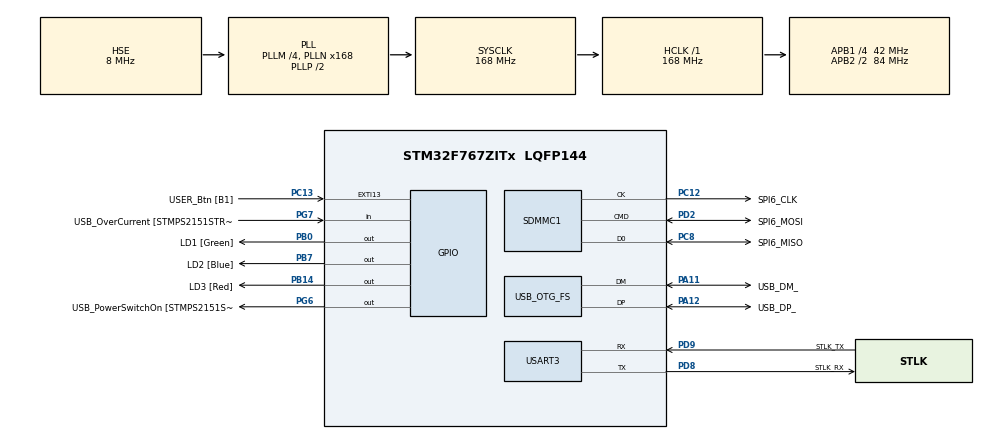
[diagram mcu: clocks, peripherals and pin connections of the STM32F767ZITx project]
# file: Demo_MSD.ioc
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Mcu.Family=STM32F7
Mcu.Name=STM32F767ZITx
Mcu.Package=LQFP144
NVIC.OTG_FS_IRQn=true\:0\:0\:false\:false\:true\:true\:true\:true
NVIC.PriorityGroup=NVIC_PRIORITYGROUP_4
NVIC.SDMMC1_IRQn=true\:0\:0\:false\:false\:true\:true\:true\:true
NVIC.USART3_IRQn=true\:0\:0\:false\:false\:true\:true\:true\:true
PA1.GPIO_Label=RMII_REF_CLK [LAN8742A-CZ-TR_REFCLK0]
PA1.Signal=ETH_REF_CLK
PA10.GPIO_Label=USB_ID
PA10.Signal=USB_OTG_FS_ID
PA11.GPIO_Label=USB_DM_
PA11.GPIO_Speed=GPIO_SPEED_FREQ_LOW
PA11.Mode=Device_Only
PA11.Signal=USB_OTG_FS_DM
PA12.GPIO_Label=USB_DP_
PA12.GPIO_Speed=GPIO_SPEED_FREQ_LOW
PA12.Mode=Device_Only
PA12.Signal=USB_OTG_FS_DP
PA13.GPIO_Label=TMS
PA13.Mode=Serial_Wire
PA13.Signal=SYS_JTMS-SWDIO
PA14.GPIO_Label=TCK
PA14.Mode=Serial_Wire
PA14.Signal=SYS_JTCK-SWCLK
PA2.GPIO_Label=RMII_MDIO [LAN8742A-CZ-TR_MDIO]
PA2.Signal=ETH_MDIO
PA7.GPIO_Label=RMII_CRS_DV [LAN8742A-CZ-TR_CRS_DV]
PA7.Signal=ETH_CRS_DV
PA8.GPIO_Label=USB_SOF [TP1]
PA8.Signal=USB_OTG_FS_SOF
PA9.GPIO_Label=USB_VBUS
PA9.Signal=USB_OTG_FS_VBUS
PB0.GPIO_Label=LD1 [Green]
PB0.Signal=GPIO_Output
PB13.GPIO_Label=RMII_TXD1 [LAN8742A-CZ-TR_TXD1]
PB13.Signal=ETH_TXD1
PB14.GPIO_Label=LD3 [Red]
PB14.Signal=GPIO_Output
PB3.GPIO_Label=SW0
PB3.Signal=SYS_JTDO-SWO
PB7.GPIO_Label=LD2 [Blue]
PB7.Signal=GPIO_Output
PC1.GPIO_Label=RMII_MDC [LAN8742A-CZ-TR_MDC]
PC1.Signal=ETH_MDC
PC12.GPIO_Label=SPI6_CLK
PC12.GPIO_Speed_High_Default=GPIO_SPEED_FREQ_LOW
PC12.Mode=SD_1_bit
PC12.Signal=SDMMC1_CK
PC13.GPIO_Label=USER_Btn [B1]
PC13.Signal=GPXTI13
PC14/OSC32_IN.Signal=RCC_OSC32_IN
PC15/OSC32_OUT.Signal=RCC_OSC32_OUT
PC4.GPIO_Label=RMII_RXD0 [LAN8742A-CZ-TR_RXD0]
PC4.Signal=ETH_RXD0
PC5.GPIO_Label=RMII_RXD1 [LAN8742A-CZ-TR_RXD1]
PC5.Signal=ETH_RXD1
PC8.GPIO_Label=SPI6_MISO
PC8.GPIO_PuPd=GPIO_PULLUP
PC8.GPIO_Speed_High_Default=GPIO_SPEED_FREQ_LOW
PC8.Mode=SD_1_bit
PC8.Signal=SDMMC1_D0
PD2.GPIO_Label=SPI6_MOSI
PD2.GPIO_PuPd=GPIO_PULLUP
PD2.GPIO_Speed_High_Default=GPIO_SPEED_FREQ_LOW
PD2.Mode=SD_1_bit
PD2.Signal=SDMMC1_CMD
PD8.GPIO_Label=STLK_RX
PD8.GPIO_ModeDefaultPP=GPIO_MODE_AF_PP
PD8.GPIO_PuPd=GPIO_NOPULL
PD8.GPIO_Speed=GPIO_SPEED_FREQ_VERY_HIGH
PD8.Mode=Asynchronous
PD8.Signal=USART3_TX
PD9.GPIO_Label=STLK_TX
PD9.GPIO_ModeDefaultPP=GPIO_MODE_AF_PP
PD9.GPIO_PuPd=GPIO_NOPULL
PD9.GPIO_Speed=GPIO_SPEED_FREQ_VERY_HIGH
PD9.Mode=Asynchronous
PD9.Signal=USART3_RX
PG11.GPIO_Label=RMII_TX_EN [LAN8742A-CZ-TR_TXEN]
PG11.Signal=ETH_TX_EN
PG13.GPIO_Label=RMII_TXD0 [LAN8742A-CZ-TR_TXD0]
PG13.Signal=ETH_TXD0
PG6.GPIO_Label=USB_PowerSwitchOn [STMPS2151STR_EN]
PG6.Signal=GPIO_Output
PG7.GPIO_Label=USB_OverCurrent [STMPS2151STR_FAULT]
PG7.Signal=GPIO_Input
PH0/OSC_IN.GPIO_Label=MCO [STM32F103CBT6_PA8]
PH0/OSC_IN.Mode=HSE-External-Oscillator
PH0/OSC_IN.Signal=RCC_OSC_IN
PH1/OSC_OUT.Mode=HSE-External-Oscillator
PH1/OSC_OUT.Signal=RCC_OSC_OUT
ProjectManager.HeapSize=0x200
ProjectManager.StackSize=0x400
ProjectManager.TargetToolchain=STM32CubeIDE
RCC.48MHZClocksFreq_Value=24000000
RCC.AHBFreq_Value=168000000
RCC.APB1CLKDivider=RCC_HCLK_DIV4
RCC.APB1Freq_Value=42000000
RCC.APB1TimFreq_Value=84000000
RCC.APB2CLKDivider=RCC_HCLK_DIV2
RCC.APB2Freq_Value=84000000
RCC.APB2TimFreq_Value=168000000
RCC.CortexFreq_Value=168000000
RCC.HCLKFreq_Value=168000000
RCC.HSE_VALUE=8000000
RCC.HSI_VALUE=16000000
RCC.LSE_VALUE=32768
RCC.PLLM=4
RCC.PLLMUL=RCC_PLL_MUL9
RCC.PLLN=168
RCC.PLLQ=7
RCC.PRESCALERUSB=RCC_USBCLKSOURCE_PLL_DIV1_5
RCC.SDMMCClockSelection=RCC_SDMMC1CLKSOURCE_CLK48
RCC.SYSCLKFreq_VALUE=168000000
RCC.SYSCLKSource=RCC_SYSCLKSOURCE_PLLCLK
RCC.SYSCLKSourceVirtual=RCC_SYSCLKSOURCE_PLLCLK
RCC.USBFreq_Value=48000000
RCC.VCOOutputFreq_Value=336000000
USART3.VirtualMode-Asynchronous=VM_ASYNC
USB_DEVICE.CLASS_NAME_FS=MSC
USB_DEVICE.VirtualMode-MSC_FS=Msc
USB_DEVICE.VirtualModeFS=Msc_FS
USB_OTG_FS.VirtualMode=Device_Only
VP_USB_DEVICE_VS_USB_DEVICE_MSC_FS.Mode=MSC_FS
board=NUCLEO-F767ZI

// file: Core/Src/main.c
/* USER CODE BEGIN Header */
/**
  ******************************************************************************
  * @file           : main.c
  * @brief          : Main program body
  ******************************************************************************
  * @attention
  *
  * Copyright (c) 2025 STMicroelectronics.
  * All rights reserved.
  *
  * This software is licensed under terms that can be found in the LICENSE file
  * in the root directory of this software component.
  * If no LICENSE file comes with this software, it is provided AS-IS.
  *
  ******************************************************************************
  */
/* USER CODE END Header */
#include "main.h"
#include "usb_device.h"

SD_HandleTypeDef hsd1;

UART_HandleTypeDef huart3;

/* USER CODE BEGIN PV */
uint8_t  	Command = 0;			 	// Command Character
uint32_t line = 0;
char *func = NULL;
HAL_SD_CardInfoTypeDef cardinfo;

/* USER CODE END PV */

void SystemClock_Config(void);
static void MX_GPIO_Init(void);
static void MX_USART3_UART_Init(void);
static void MX_SDMMC1_SD_Init(void);
/* USER CODE BEGIN PFP */
void Debug_SerialPort_Callback(void);
void user_cmd(uint8_t *);
/* USER CODE END PFP */

/* USER CODE BEGIN 0 */
const char *data = "Hello from the Matrix\r\n";
/* USER CODE END 0 */

int main(void)
{

  /* MCU Configuration--------------------------------------------------------*/

  /* Reset of all peripherals, Initializes the Flash interface and the Systick. */
  HAL_Init();

  /* Configure the system clock */
  SystemClock_Config();

  /* Initialize all configured peripherals */
  MX_GPIO_Init();
  MX_USART3_UART_Init();
  MX_SDMMC1_SD_Init();
  MX_USB_DEVICE_Init();

  /* Infinite loop */
  while (1)
  {

    /* USER CODE BEGIN 3 */
	  //__io_putchar('I');
	  if(Command != 0)
	  {
		  user_cmd(&Command);
		  Command = 0;
	  }

  }
  /* USER CODE END 3 */
}

void SystemClock_Config(void)
{
  RCC_OscInitTypeDef RCC_OscInitStruct = {0};
  RCC_ClkInitTypeDef RCC_ClkInitStruct = {0};

  /** Configure the main internal regulator output voltage
  */
  __HAL_RCC_PWR_CLK_ENABLE();
  __HAL_PWR_VOLTAGESCALING_CONFIG(PWR_REGULATOR_VOLTAGE_SCALE2);

  /** Initializes the RCC Oscillators according to the specified parameters
  * in the RCC_OscInitTypeDef structure.
  */
  RCC_OscInitStruct.OscillatorType = RCC_OSCILLATORTYPE_HSE;
  RCC_OscInitStruct.HSEState = RCC_HSE_ON;
  RCC_OscInitStruct.PLL.PLLState = RCC_PLL_ON;
  RCC_OscInitStruct.PLL.PLLSource = RCC_PLLSOURCE_HSE;
  RCC_OscInitStruct.PLL.PLLM = 4;
  RCC_OscInitStruct.PLL.PLLN = 168;
  RCC_OscInitStruct.PLL.PLLP = RCC_PLLP_DIV2;
  RCC_OscInitStruct.PLL.PLLQ = 7;
  RCC_OscInitStruct.PLL.PLLR = 2;
  if (HAL_RCC_OscConfig(&RCC_OscInitStruct) != HAL_OK)
  {
    Error_Handler();
  }

  /** Initializes the CPU, AHB and APB buses clocks
  */
  RCC_ClkInitStruct.ClockType = RCC_CLOCKTYPE_HCLK|RCC_CLOCKTYPE_SYSCLK
                              |RCC_CLOCKTYPE_PCLK1|RCC_CLOCKTYPE_PCLK2;
  RCC_ClkInitStruct.SYSCLKSource = RCC_SYSCLKSOURCE_PLLCLK;
  RCC_ClkInitStruct.AHBCLKDivider = RCC_SYSCLK_DIV1;
  RCC_ClkInitStruct.APB1CLKDivider = RCC_HCLK_DIV4;
  RCC_ClkInitStruct.APB2CLKDivider = RCC_HCLK_DIV2;

  if (HAL_RCC_ClockConfig(&RCC_ClkInitStruct, FLASH_LATENCY_5) != HAL_OK)
  {
    Error_Handler();
  }
}

static void MX_SDMMC1_SD_Init(void)
{

  hsd1.Instance = SDMMC1;
  hsd1.Init.ClockEdge = SDMMC_CLOCK_EDGE_RISING;
  hsd1.Init.ClockBypass = SDMMC_CLOCK_BYPASS_DISABLE;
  hsd1.Init.ClockPowerSave = SDMMC_CLOCK_POWER_SAVE_DISABLE;
  hsd1.Init.BusWide = SDMMC_BUS_WIDE_1B;
  hsd1.Init.HardwareFlowControl = SDMMC_HARDWARE_FLOW_CONTROL_DISABLE;
  hsd1.Init.ClockDiv = 0;
  if (HAL_SD_Init(&hsd1) != HAL_OK)
  {
    Error_Handler();
  }

}

static void MX_USART3_UART_Init(void)
{

  huart3.Instance = USART3;
  huart3.Init.BaudRate = 115200;
  huart3.Init.WordLength = UART_WORDLENGTH_8B;
  huart3.Init.StopBits = UART_STOPBITS_1;
  huart3.Init.Parity = UART_PARITY_NONE;
  huart3.Init.Mode = UART_MODE_TX_RX;
  huart3.Init.HwFlowCtl = UART_HWCONTROL_NONE;
  huart3.Init.OverSampling = UART_OVERSAMPLING_16;
  huart3.Init.OneBitSampling = UART_ONE_BIT_SAMPLE_DISABLE;
  huart3.AdvancedInit.AdvFeatureInit = UART_ADVFEATURE_NO_INIT;
  if (HAL_UART_Init(&huart3) != HAL_OK)
  {
    Error_Handler();
  }
  /* USER CODE BEGIN USART3_Init 2 */
  __HAL_UART_ENABLE_IT(&huart3, UART_IT_RXNE); // Debug Callback
  /* USER CODE END USART3_Init 2 */

}

static void MX_GPIO_Init(void)
{
  GPIO_InitTypeDef GPIO_InitStruct = {0};

  /* GPIO Ports Clock Enable */
  __HAL_RCC_GPIOC_CLK_ENABLE();
  __HAL_RCC_GPIOH_CLK_ENABLE();
  __HAL_RCC_GPIOA_CLK_ENABLE();
  __HAL_RCC_GPIOB_CLK_ENABLE();
  __HAL_RCC_GPIOD_CLK_ENABLE();
  __HAL_RCC_GPIOG_CLK_ENABLE();

  /*Configure GPIO pin Output Level */
  HAL_GPIO_WritePin(GPIOB, LD1_Pin|LD3_Pin|LD2_Pin, GPIO_PIN_RESET);

  /*Configure GPIO pin Output Level */
  HAL_GPIO_WritePin(USB_PowerSwitchOn_GPIO_Port, USB_PowerSwitchOn_Pin, GPIO_PIN_RESET);

  /*Configure GPIO pin : USER_Btn_Pin */
  GPIO_InitStruct.Pin = USER_Btn_Pin;
  GPIO_InitStruct.Mode = GPIO_MODE_IT_RISING;
  GPIO_InitStruct.Pull = GPIO_NOPULL;
  HAL_GPIO_Init(USER_Btn_GPIO_Port, &GPIO_InitStruct);

  /*Configure GPIO pins : RMII_MDC_Pin RMII_RXD0_Pin RMII_RXD1_Pin */
  GPIO_InitStruct.Pin = RMII_MDC_Pin|RMII_RXD0_Pin|RMII_RXD1_Pin;
  GPIO_InitStruct.Mode = GPIO_MODE_AF_PP;
  GPIO_InitStruct.Pull = GPIO_NOPULL;
  GPIO_InitStruct.Speed = GPIO_SPEED_FREQ_VERY_HIGH;
  GPIO_InitStruct.Alternate = GPIO_AF11_ETH;
  HAL_GPIO_Init(GPIOC, &GPIO_InitStruct);

  /*Configure GPIO pins : RMII_REF_CLK_Pin RMII_MDIO_Pin RMII_CRS_DV_Pin */
  GPIO_InitStruct.Pin = RMII_REF_CLK_Pin|RMII_MDIO_Pin|RMII_CRS_DV_Pin;
  GPIO_InitStruct.Mode = GPIO_MODE_AF_PP;
  GPIO_InitStruct.Pull = GPIO_NOPULL;
  GPIO_InitStruct.Speed = GPIO_SPEED_FREQ_VERY_HIGH;
  GPIO_InitStruct.Alternate = GPIO_AF11_ETH;
  HAL_GPIO_Init(GPIOA, &GPIO_InitStruct);

  /*Configure GPIO pins : LD1_Pin LD3_Pin LD2_Pin */
  GPIO_InitStruct.Pin = LD1_Pin|LD3_Pin|LD2_Pin;
  GPIO_InitStruct.Mode = GPIO_MODE_OUTPUT_PP;
  GPIO_InitStruct.Pull = GPIO_NOPULL;
  GPIO_InitStruct.Speed = GPIO_SPEED_FREQ_LOW;
  HAL_GPIO_Init(GPIOB, &GPIO_InitStruct);

  /*Configure GPIO pin : RMII_TXD1_Pin */
  GPIO_InitStruct.Pin = RMII_TXD1_Pin;
  GPIO_InitStruct.Mode = GPIO_MODE_AF_PP;
  GPIO_InitStruct.Pull = GPIO_NOPULL;
  GPIO_InitStruct.Speed = GPIO_SPEED_FREQ_VERY_HIGH;
  GPIO_InitStruct.Alternate = GPIO_AF11_ETH;
  HAL_GPIO_Init(RMII_TXD1_GPIO_Port, &GPIO_InitStruct);

  /*Configure GPIO pin : USB_PowerSwitchOn_Pin */
  GPIO_InitStruct.Pin = USB_PowerSwitchOn_Pin;
  GPIO_InitStruct.Mode = GPIO_MODE_OUTPUT_PP;
  GPIO_InitStruct.Pull = GPIO_NOPULL;
  GPIO_InitStruct.Speed = GPIO_SPEED_FREQ_LOW;
  HAL_GPIO_Init(USB_PowerSwitchOn_GPIO_Port, &GPIO_InitStruct);

  /*Configure GPIO pin : USB_OverCurrent_Pin */
  GPIO_InitStruct.Pin = USB_OverCurrent_Pin;
  GPIO_InitStruct.Mode = GPIO_MODE_INPUT;
  GPIO_InitStruct.Pull = GPIO_NOPULL;
  HAL_GPIO_Init(USB_OverCurrent_GPIO_Port, &GPIO_InitStruct);

  /*Configure GPIO pins : RMII_TX_EN_Pin RMII_TXD0_Pin */
  GPIO_InitStruct.Pin = RMII_TX_EN_Pin|RMII_TXD0_Pin;
  GPIO_InitStruct.Mode = GPIO_MODE_AF_PP;
  GPIO_InitStruct.Pull = GPIO_NOPULL;
  GPIO_InitStruct.Speed = GPIO_SPEED_FREQ_VERY_HIGH;
  GPIO_InitStruct.Alternate = GPIO_AF11_ETH;
  HAL_GPIO_Init(GPIOG, &GPIO_InitStruct);

}

/* USER CODE BEGIN 4 */
//from debug port
void Debug_SerialPort_Callback(void)
{
	uint8_t CharData;
	if (HAL_OK == HAL_UART_Receive(&huart3, &CharData, 1, 100))
		Command = CharData;
}

//to debug port
int __io_putchar(int ch)
{
	uint8_t c;
	c = ch & 0x00FF;
	HAL_UART_Transmit(&huart3, (uint8_t *)&c, 1, 10);
	return ch;
}

void user_cmd(uint8_t* order)
{
	uint8_t cmd = *order;

	switch (cmd)
	{
	case 'h':
		printf("\r\nCommands Implemented: \r\n");
		printf("\t\th: Help \r\n");
		printf("\t\ti: Get SD card info \r\n");
		break;

	case 'i':
		HAL_SD_GetCardInfo(&hsd1, &cardinfo);
		printf("\r\n----SD CARD INFO----\r\n");
		printf("Card Type %lu\r\n", cardinfo.CardType);
		printf("Card Version %lu\r\n", cardinfo.CardVersion);
		printf("Class %lu \r\n", cardinfo.Class);
		printf("Block Number %lu \r\n", cardinfo.BlockNbr);
		printf("Block Size %lu \r\n", cardinfo.BlockSize);
		printf("Logial Block Number %lu\r\n", cardinfo.LogBlockNbr);
		printf("Logial Block Size %lu\r\n", cardinfo.LogBlockSize);
		break;

	case 's':
		printf("Sending data over USB\r\n");
		//CDC_Transmit_FS((uint8_t*)data, strlen(data));
		break;
	default:
		printf("Not a defined command\r\n");
		break;

	}
	return;
}
/* USER CODE END 4 */

void Error_Handler(void)
{
  /* USER CODE BEGIN Error_Handler_Debug */
  /* User can add his own implementation to report the HAL error return state */
  __disable_irq();
  //printf("Error in line %lu from function %s\r\n", line, func);
  while (1)
  {
  }
  /* USER CODE END Error_Handler_Debug */
}
